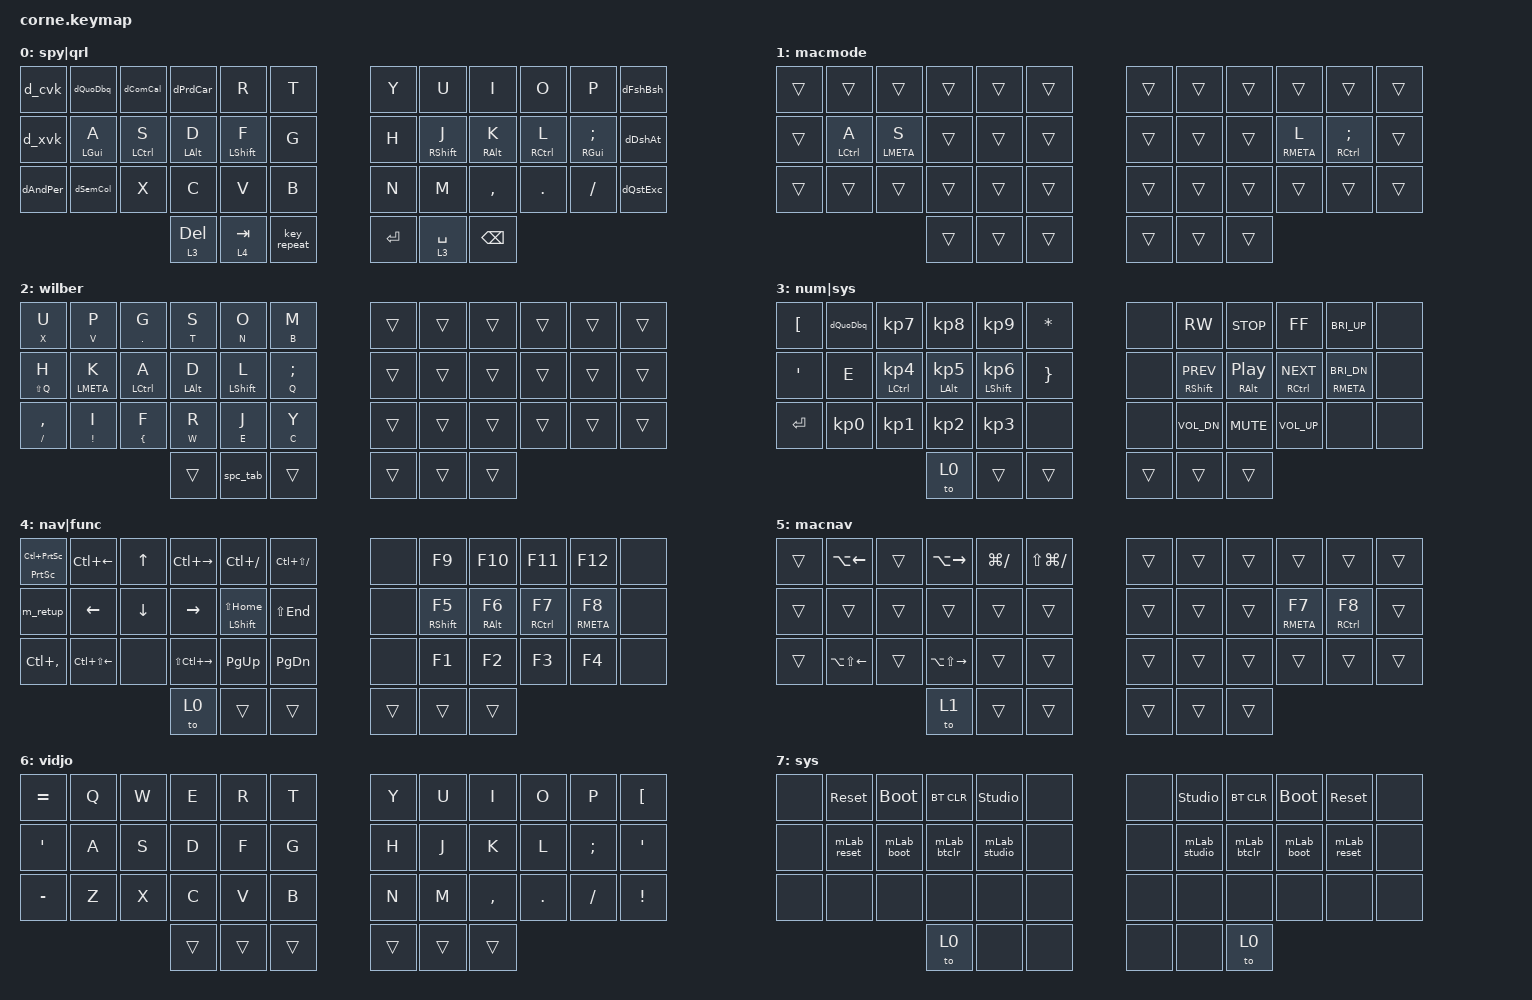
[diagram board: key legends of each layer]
/*
 * Copyright (c) 2020 The ZMK Contributors
 *
 * SPDX-License-Identifier: MIT
 */

#include <behaviors.dtsi>
#include <dt-bindings/zmk/bt.h>
#include <dt-bindings/zmk/keys.h>

&lt {
    flavor = "balanced";
    tapping-term-ms = <190>;
};

&mt { flavor = "balanced"; };

&sk { release-after-ms = <2000>; };

/* Homerow mods

#define QUICK_TAP_MS 175
#define KEYS_L LT0 LT1 LT2 LT3 LT4 LT5 LM0 LM1 LM2 LM3 LM4 LM5 LB0 LB1 LB2 LB3 LB4 LB5  // left hand
#define KEYS_R RT0 RT1 RT2 RT3 RT4 RT5 RM0 RM1 RM2 RM3 RM4 RM5 RB0 RB1 RB2 RB3 RB4 RB5  // right hand
#define THUMBS LH2 LH1 LH0 RH0 RH1 RH2                                                  // thumbs

#define MAKE_HRM(NAME, HOLD, TAP, TRIGGER_POS) \
    ZMK_BEHAVIOR(NAME, hold_tap, \
        flavor = "balanced"; \
        tapping-term-ms = <280>; \
        quick-tap-ms = <QUICK_TAP_MS>; \
        require-prior-idle-ms = <150>; \
        bindings = <HOLD>, <TAP>; \
        hold-trigger-key-positions = <TRIGGER_POS>; \
        hold-trigger-on-release; \
    )
MAKE_HRM(lt, &kp, &kp, KEYS_R THUMBS)  // left-hand HRMs
MAKE_HRM(lt, &kp, &kp, KEYS_L THUMBS)  // right-hand HRMs

MAKE_HRM(lt_repeat, &kp, &key_repeat, KEYS_R THUMBS)  // used for HRM-combo
MAKE_HRM(lt_lpar_lt, &kp, &lpar_lt, KEYS_L THUMBS)    // "    "   "   "
MAKE_HRM(lt_rpar_gt, &kp, &rpar_gt, KEYS_L THUMBS)    // "    "   "   "

*/

/ {
    behaviors {
        ht_L: ht_L {
            compatible = "zmk,behavior-hold-tap";
            label = "HT_L";
            bindings = <&kp>, <&kp>;

            #binding-cells = <2>;
            tapping-term-ms = <155>;
            quick-tap-ms = <135>;
            require-prior-idle-ms = <125>;
            flavor = "balanced";
            hold-trigger-key-positions = <6 7 8 9 10 11 18 19 20 21 22 23 30 31 32 33 34 35 36 37>;
            hold-trigger-on-release;
        };

        ht_R: ht_R {
            compatible = "zmk,behavior-hold-tap";
            label = "HT_R";
            bindings = <&kp>, <&kp>;

            #binding-cells = <2>;
            tapping-term-ms = <155>;
            quick-tap-ms = <135>;
            require-prior-idle-ms = <125>;
            flavor = "balanced";
            hold-trigger-key-positions = <0 1 2 3 4 5 12 13 14 15 16 17 24 25 26 27 28 29 36 37>;
            hold-trigger-on-release;
        };

        dQuoDbq: dQuoDbq {
            compatible = "zmk,behavior-tap-dance";
            label = "DQUODBQ";
            #binding-cells = <0>;
            bindings = <&kp Q>, <&kp LS(Q)>;

            tapping-term-ms = <235>;
        };

        dComCal: dComCal {
            compatible = "zmk,behavior-tap-dance";
            label = "DCOMCAL";
            #binding-cells = <0>;
            bindings = <&kp W>, <&kp LS(W)>;

            tapping-term-ms = <235>;
        };

        dPrdCar: dPrdCar {
            compatible = "zmk,behavior-tap-dance";
            label = "DPRDCAR";
            #binding-cells = <0>;
            tapping-term-ms = <250>;
            bindings = <&kp E>, <&kp LS(E)>;
        };

        dAndPer: dAndPer {
            compatible = "zmk,behavior-tap-dance";
            label = "DANDPER";
            #binding-cells = <0>;
            bindings = <&kp AMPS>, <&kp PERCENT>;

            tapping-term-ms = <250>;
        };

        dSemCol: dSemCol {
            compatible = "zmk,behavior-tap-dance";
            label = "DSEMCOL";
            #binding-cells = <0>;
            bindings = <&kp Z>, <&kp LS(Z)>;

            tapping-term-ms = <250>;
        };

        mt_L: mt_L {
            compatible = "zmk,behavior-hold-tap";
            label = "MT_L";
            bindings = <&mo>, <&kp>;

            #binding-cells = <2>;
            tapping-term-ms = <145>;
            flavor = "balanced";
            hold-trigger-key-positions = <6 7 8 9 10 11 18 19 20 21 22 23 30 31 32 33 34 35 39 41 40 37>;
            hold-trigger-on-release;
        };

        mt_R: mt_R {
            compatible = "zmk,behavior-hold-tap";
            label = "MT_R";
            bindings = <&mo>, <&kp>;

            #binding-cells = <2>;
            tapping-term-ms = <160>;
            quick-tap-ms = <135>;
            flavor = "balanced";
            hold-trigger-key-positions = <0 1 2 3 4 5 12 13 14 15 16 17 24 25 26 27 28 29 37 40 36>;
            hold-trigger-on-release;
        };

        dGrvTld: dGrvTld {
            compatible = "zmk,behavior-tap-dance";
            label = "DGRVTLD";
            #binding-cells = <0>;
            bindings = <&kp GRAVE>, <&kp TILDE>;

            tapping-term-ms = <235>;
        };

        dFshBsh: dFshBsh {
            compatible = "zmk,behavior-tap-dance";
            label = "DFSHBSH";
            #binding-cells = <0>;
            bindings = <&kp LBKT>, <&kp BSLH>;

            tapping-term-ms = <235>;
        };

        dQstExc: dQstExc {
            compatible = "zmk,behavior-tap-dance";
            label = "DQSTEXC";
            #binding-cells = <0>;
            bindings = <&kp LS(LBKT)>, <&kp EXCL>;

            tapping-term-ms = <235>;
        };

        dDshAt: dDshAt {
            compatible = "zmk,behavior-tap-dance";
            label = "DDSHAT";
            #binding-cells = <0>;
            bindings = <&kp SQT>, <&kp AT>;

            tapping-term-ms = <235>;
        };

        ht_xvk: ht_xvk {
            compatible = "zmk,behavior-hold-tap";
            label = "HT_XVK";
            bindings = <&m_xv>, <&kp>;

            #binding-cells = <2>;
            tapping-term-ms = <155>;
            quick-tap-ms = <135>;
            require-prior-idle-ms = <125>;
            flavor = "balanced";
            hold-trigger-key-positions = <6 7 8 9 10 11 18 19 20 21 22 23 30 31 32 33 34 35 39 40 41>;
        };

        ht_cvk: ht_cvk {
            compatible = "zmk,behavior-hold-tap";
            label = "HT_CVK";
            bindings = <&m_cv>, <&kp>;

            #binding-cells = <2>;
            tapping-term-ms = <155>;
            quick-tap-ms = <135>;
            require-prior-idle-ms = <125>;
            flavor = "balanced";
            hold-trigger-key-positions = <6 7 8 9 10 11 18 19 20 21 22 23 30 31 32 33 34 35 39 40 41>;
        };

        d_xvk: d_xvk {
            compatible = "zmk,behavior-tap-dance";
            label = "D_XVK";
            #binding-cells = <0>;
            bindings = <&ht_xvk 0 HASH>, <&kp STAR>;

            tapping-term-ms = <225>;
        };

        d_cvk: d_cvk {
            compatible = "zmk,behavior-tap-dance";
            label = "D_CVK";
            #binding-cells = <0>;
            bindings = <&ht_cvk 0 GRAVE>, <&kp TILDE>;

            tapping-term-ms = <225>;
        };

        ht_W: ht_W {
            compatible = "zmk,behavior-hold-tap";
            label = "HT_W";
            bindings = <&kp>, <&kp>;

            #binding-cells = <2>;
            tapping-term-ms = <120>;
            flavor = "balanced";
            hold-trigger-key-positions = <6 7 8 9 10 11 18 19 20 21 22 23 30 31 32 33 34 35 36 37>;
            require-prior-idle-ms = <35>;
        };

        mdt_L: mdt_L {
            compatible = "zmk,behavior-hold-tap";
            label = "MDT_L";
            bindings = <&mo>, <&gresc>;

            #binding-cells = <2>;
            tapping-term-ms = <145>;
            flavor = "balanced";
            hold-trigger-key-positions = <6 7 8 9 10 11 18 19 20 21 22 23 30 31 32 33 34 35 39 41 40 37>;
            hold-trigger-on-release;
        };

        spc_tab: spc_tab {
            compatible = "zmk,behavior-mod-morph";
            label = "SPC_TAB";
            bindings = <&mm_L 4 SPACE>, <&kp TAB>;

            #binding-cells = <0>;
            keep-mods = <(MOD_LALT|MOD_LGUI)>;
            mods = <(MOD_LALT|MOD_LGUI)>;
        };

        mm_L: mm_L {
            compatible = "zmk,behavior-hold-tap";
            label = "MM_L";
            bindings = <&mo>, <&kp>;

            #binding-cells = <2>;
            tapping-term-ms = <145>;
            flavor = "balanced";
            hold-trigger-key-positions = <6 7 8 9 10 11 18 19 20 21 22 23 30 31 32 33 34 35 39 41 40 37>;
            hold-trigger-on-release;
        };
    };

    macros {
        ms_wrkD: ms_wrkD {
            compatible = "zmk,behavior-macro";
            #binding-cells = <0>;
            bindings =
                <&macro_tap>,
                <&kp SEMI &kp COMMA &kp D &kp H &kp D &kp SEMI &kp N2 &kp M &kp A &kp O &kp K &kp T &kp N8 &kp I &kp J &kp D &kp D &kp K &kp A &kp J &kp N4>,
                <&macro_press>,
                <&kp LSHFT>,
                <&macro_tap>,
                <&kp S &kp GT &kp D &kp O &kp P &kp S &kp S &kp V>,
                <&macro_release>,
                <&kp LSHFT>;

            label = "MS_WRKD";
        };

        ms_wrkQ: ms_wrkQ {
            compatible = "zmk,behavior-macro";
            #binding-cells = <0>;
            bindings =
                <&macro_tap>,
                <&kp S &kp W &kp E &kp D &kp E &kp S &kp N2 &kp M &kp A &kp R &kp T &kp Y &kp N8 &kp C &kp H &kp E &kp E &kp T &kp A &kp H &kp N4>,
                <&macro_press>,
                <&kp LSHFT>,
                <&macro_tap>,
                <&kp O &kp V &kp E &kp R &kp L &kp O &kp O &kp K>,
                <&macro_release>,
                <&kp LSHFT>;

            label = "MS_WRKQ";
        };

        ms_mac: ms_mac {
            compatible = "zmk,behavior-macro";
            #binding-cells = <0>;
            bindings = <&kp SEMI &kp J &kp D &kp D &kp L &kp N6 &kp COLON &kp LT &kp LS(D) &kp LS(O) &kp GT &kp LS(D) &kp N9 &kp SEMI &kp K &kp O &kp A &kp L &kp U &kp D &kp O &kp N6 &kp C &kp G &kp L &kp B>;
            label = "MS_MAC";
        };

        m_2cmd: m_2cmd {
            compatible = "zmk,behavior-macro-two-param";
            #binding-cells = <2>;
            bindings =
                <&macro_param_1to1>,
                <&macro_tap>,
                <&kp MACRO_PLACEHOLDER>,
                <&macro_pause_for_release>,
                <&macro_param_2to1>,
                <&macro_tap>,
                <&kp MACRO_PLACEHOLDER>;

            label = "M_2CMD";
        };

        m_retup: m_retup {
            compatible = "zmk,behavior-macro";
            #binding-cells = <0>;
            bindings = <&kp HOME &kp LS(RET) &kp UP>;
            label = "M_RETUP";
        };

        ms_phnx: ms_rphe {
            compatible = "zmk,behavior-macro";
            #binding-cells = <0>;
            bindings = <&kp D &kp FSLH &kp D &kp V &kp G &kp D &kp P &kp N7 &kp R &kp S &kp P &kp A &kp O &kp G &kp K &kp T &kp N4 &kp LS(U) &kp LS(A) &kp LS(M) &kp LS(M) &kp LS(D) &kp LS(O) &kp N4 &kp N &kp G &kp S &kp K &kp A>;
            label = "MS_RPHE";
        };

        m_2tabto0: m_2tabto0 {
            compatible = "zmk,behavior-macro";
            #binding-cells = <0>;
            bindings = <&macro_tap>, <&kp TAB &to 0>;

            label = "M_2TABTO0";
        };

        m_xv: m_xv {
            compatible = "zmk,behavior-macro";
            #binding-cells = <0>;
            bindings =
                <&macro_tap>,
                <&kp LC(B)>,
                <&macro_pause_for_release>,
                <&macro_tap>,
                <&kp LC(PERIOD)>;

            label = "M_XV";
        };

        m_cv: m_cv {
            compatible = "zmk,behavior-macro";
            #binding-cells = <0>;
            bindings =
                <&macro_tap>,
                <&kp LC(I)>,
                <&macro_pause_for_release>,
                <&macro_tap>,
                <&kp LC(PERIOD)>;

            label = "M_CV";
        };

        mLab_studio: mLab_studio {
            compatible = "zmk,behavior-macro";
            #binding-cells = <0>;
            bindings = <&kp G &kp L &kp H &kp D &kp B &kp SPACE &kp SQT &kp SPACE &kp SEMI &kp K &kp F &kp H &kp G &kp S &kp SPACE &kp F &kp L &kp P &kp S &kp I &kp V>;
            label = "MLAB_STUDIO";
        };

        mLab_btclr: mLab_btclr {
            compatible = "zmk,behavior-macro";
            #binding-cells = <0>;
            bindings = <&kp M &kp G &kp H &kp H &kp P &kp D &kp SPACE &kp SQT &kp SPACE &kp N &kp K &kp DQT &kp I &kp P &kp O>;
            label = "MLAB_BTCLR";
        };

        mLab_boot: mLab_boot {
            compatible = "zmk,behavior-macro";
            #binding-cells = <0>;
            bindings = <&kp O &kp G &kp L &kp U &kp SPACE &kp SQT &kp SPACE &kp N &kp S &kp S &kp K &kp P &kp S &kp A &kp H &kp D &kp O>;
            label = "MLAB_BOOT";
        };

        mLab_reset: mLab_reset {
            compatible = "zmk,behavior-macro";
            #binding-cells = <0>;
            bindings = <&kp R &kp G &kp L &kp V &kp T &kp SPACE &kp SQT &kp SPACE &kp SEMI &kp T &kp SEMI &kp SPACE &kp O &kp D &kp SEMI &kp D &kp K>;
            label = "MLAB_RESET";
        };
    };

    combos {
        compatible = "zmk,combos";

        c_parL {
            bindings = <&kp LPAR>;
            key-positions = <1 2>;
            require-prior-idle-ms = <130>;
        };

        c_parR {
            bindings = <&kp RPAR>;
            key-positions = <3 4>;
            require-prior-idle-ms = <130>;
        };

        c_home {
            bindings = <&kp HOME>;
            key-positions = <15 16>;
            require-prior-idle-ms = <150>;
        };

        c_end {
            bindings = <&kp END>;
            key-positions = <16 17>;
        };

        c_dol {
            bindings = <&kp DLLR>;
            key-positions = <36 28 27>;
        };

        c_pipe {
            bindings = <&kp PIPE>;
            key-positions = <16 4>;
            timeout-ms = <200>;
        };

        c_cut {
            bindings = <&kp LC(B)>;
            key-positions = <25 27>;
        };

        c_paste {
            bindings = <&kp LC(DOT)>;
            key-positions = <16 14>;
            require-prior-idle-ms = <350>;
            timeout-ms = <30>;
        };

        c_copy {
            bindings = <&kp LC(I)>;
            key-positions = <13 15>;
            timeout-ms = <21>;
            require-prior-idle-ms = <350>;
        };

        c_esc {
            bindings = <&kp ESC>;
            key-positions = <13 14>;
            require-prior-idle-ms = <150>;
        };

        c_ltroub {
            bindings = <&to 7>;
            key-positions = <24 12 38>;
            require-prior-idle-ms = <3000>;
        };

        c_ltroubR {
            bindings = <&to 7>;
            key-positions = <39 35 23>;
            require-prior-idle-ms = <3000>;
        };

        cs_dwrk {
            bindings = <&ms_wrkD>;
            key-positions = <17 13 20 22>;
            require-prior-idle-ms = <3000>;
            timeout-ms = <100>;
        };

        c_qwrk {
            bindings = <&ms_wrkQ>;
            key-positions = <20 22 26 13>;
            require-prior-idle-ms = <3000>;
            timeout-ms = <100>;
        };

        cWyrm {
            bindings = <&ms_mac>;
            key-positions = <5 9 31 32>;
            timeout-ms = <100>;
            require-prior-idle-ms = <3000>;
        };

        c_dskl {
            bindings = <&kp LG(LC(LEFT_ARROW))>;
            key-positions = <0 1 37>;
            timeout-ms = <150>;
        };

        c_deskr {
            bindings = <&kp LG(LC(RIGHT_ARROW))>;
            key-positions = <4 5 37>;
            timeout-ms = <150>;
        };

        c_sum {
            bindings = <&kp RBRC>;
            key-positions = <16 22 31>;
        };

        c_eq {
            bindings = <&kp RBKT>;
            key-positions = <26 15 16>;
        };

        c_pow {
            bindings = <&kp CARET>;
            key-positions = <4 14 32>;
        };

        c_ast {
            bindings = <&kp STAR>;
            key-positions = <13 22 20>;
        };

        c_tab {
            bindings = <&kp TAB>;
            key-positions = <27 28>;
            layers = <2>;
        };

        c_btx1 {
            bindings = <&bt BT_DISC 0>;
            key-positions = <38 25>;
        };

        c_btx2 {
            bindings = <&bt BT_DISC 1>;
            key-positions = <38 26>;
        };

        c_btx3 {
            bindings = <&bt BT_DISC 2>;
            key-positions = <38 27>;
        };

        c_btx4 {
            bindings = <&bt BT_DISC 3>;
            key-positions = <38 28>;
        };

        c_btx5 {
            bindings = <&bt BT_DISC 4>;
            key-positions = <38 29>;
        };

        c_bksp {
            bindings = <&kp BSPC>;
            key-positions = <26 25>;
        };

        c_ret {
            bindings = <&kp RET>;
            key-positions = <29 28>;
        };

        cs_phx {
            bindings = <&ms_phnx>;
            key-positions = <19 4 29 21>;
            require-prior-idle-ms = <3000>;
            timeout-ms = <100>;
        };

        cBt1 {
            bindings = <&bt BT_SEL 0>;
            key-positions = <38 13>;
        };

        cBt2 {
            bindings = <&bt BT_SEL 1>;
            key-positions = <38 14>;
        };

        cBt3 {
            bindings = <&bt BT_SEL 2>;
            key-positions = <38 15>;
        };

        cBt4 {
            bindings = <&bt BT_SEL 3>;
            key-positions = <38 16>;
        };

        cBt5 {
            bindings = <&bt BT_SEL 4>;
            key-positions = <38 17>;
        };

        cw_bktl {
            bindings = <&kp MINUS>;
            key-positions = <0 1>;
        };

        cw_bktr {
            bindings = <&kp EQUAL>;
            key-positions = <5 4>;
        };

        cw_ins {
            bindings = <&kp INS>;
            key-positions = <3 2>;
            timeout-ms = <30>;
        };

        cw_lgui {
            bindings = <&sk LEFT_GUI>;
            key-positions = <13 37>;
            require-prior-idle-ms = <125>;
        };

        cw_ctrl {
            bindings = <&sk LCTRL>;
            key-positions = <37 14>;
            require-prior-idle-ms = <125>;
        };

        cw_alt {
            bindings = <&sk LEFT_ALT>;
            key-positions = <37 15>;
            require-prior-idle-ms = <125>;
        };

        cw_shft {
            bindings = <&sk LSHFT>;
            key-positions = <37 16>;
            require-prior-idle-ms = <125>;
        };

        cw_toggle {
            bindings = <&tog 2>;
            key-positions = <14 15>;
            require-prior-idle-ms = <350>;
        };

        c_r0 {
            bindings = <&kp N0>;
            key-positions = <35 34>;
            timeout-ms = <50>;
        };

        c_n1 {
            bindings = <&kp N1>;
            key-positions = <34 33>;
            timeout-ms = <30>;
            require-prior-idle-ms = <350>;
        };

        c_n2 {
            bindings = <&kp N2>;
            key-positions = <33 32>;
            timeout-ms = <30>;
            require-prior-idle-ms = <350>;
        };

        c_n3 {
            bindings = <&kp N3>;
            key-positions = <32 31>;
            timeout-ms = <30>;
            require-prior-idle-ms = <350>;
        };

        c_n4 {
            bindings = <&kp NUMBER_4>;
            key-positions = <22 21>;
            require-prior-idle-ms = <350>;
            timeout-ms = <30>;
        };

        c_n5 {
            bindings = <&kp N5>;
            key-positions = <21 20>;
            timeout-ms = <30>;
            require-prior-idle-ms = <350>;
        };

        c_n6 {
            bindings = <&kp N6>;
            key-positions = <20 19>;
            timeout-ms = <30>;
            require-prior-idle-ms = <350>;
        };

        c_lthan {
            bindings = <&kp LS(W)>;
            key-positions = <1 0 2>;
            require-prior-idle-ms = <150>;
        };

        c_colon {
            bindings = <&kp LS(Z)>;
            key-positions = <13 16>;
            layers = <2>;
        };

        c_dash {
            bindings = <&kp APOS>;
            key-positions = <15 3>;
        };

        c_btck {
            bindings = <&kp GRAVE>;
            key-positions = <1 14 0>;
        };

        c_tilde {
            bindings = <&kp TILDE>;
            key-positions = <12 13 2>;
        };

        c_gthan {
            bindings = <&kp LS(E)>;
            key-positions = <3 4 5>;
            require-prior-idle-ms = <150>;
        };

        c_uscor {
            bindings = <&kp LS(APOS)>;
            key-positions = <15 27>;
        };

        c_powl {
            bindings = <&kp CARET>;
            key-positions = <16 3 14>;
        };

        c_prcnt {
            bindings = <&kp PRCNT>;
            key-positions = <15 16 2 1>;
            layers = <2>;
            timeout-ms = <300>;
        };

        c_bslsh {
            bindings = <&kp BSLH>;
            key-positions = <28 3>;
        };

        cmac_toggle {
            bindings = <&tog 1>;
            key-positions = <4 1>;
            timeout-ms = <30>;
            require-prior-idle-ms = <350>;
        };

        c_capsl {
            bindings = <&kp CAPS>;
            key-positions = <24 25>;
        };

        c_n7 {
            bindings = <&kp N7>;
            key-positions = <10 9>;
            timeout-ms = <30>;
            require-prior-idle-ms = <350>;
        };

        c_n8 {
            bindings = <&kp N8>;
            key-positions = <9 8>;
            timeout-ms = <30>;
            require-prior-idle-ms = <350>;
        };

        c_n9 {
            bindings = <&kp N9>;
            key-positions = <8 7>;
            timeout-ms = <30>;
            require-prior-idle-ms = <350>;
        };

        c_amps {
            bindings = <&kp AMPS>;
            key-positions = <24 36>;
            require-prior-idle-ms = <150>;
            layers = <2>;
        };

        c_hsh {
            bindings = <&kp HASH>;
            key-positions = <17 29 28 16>;
        };

        c_at {
            bindings = <&kp AT>;
            key-positions = <36 28 15 26>;
        };

        c_semicol {
            bindings = <&kp Z>;
            key-positions = <25 28>;
        };

        c_win {
            bindings = <&kp LWIN>;
            key-positions = <13 22>;
        };

        c_fslsh {
            bindings = <&kp LBKT>;
            key-positions = <4 15>;
            require-prior-idle-ms = <130>;
        };

        c_f1 {
            bindings = <&kp F1>;
            key-positions = <25 36>;
            layers = <2>;
        };

        c_f2 {
            bindings = <&kp F2>;
            key-positions = <36 26>;
            layers = <2>;
        };

        c_f3 {
            bindings = <&kp F3>;
            key-positions = <36 27>;
            layers = <2>;
        };

        c_f4 {
            bindings = <&kp F4>;
            key-positions = <36 28>;
            layers = <2>;
        };

        c_f5 {
            bindings = <&kp F5>;
            key-positions = <13 36>;
            layers = <2>;
        };

        c_f6 {
            bindings = <&kp F6>;
            key-positions = <36 14>;
            layers = <2>;
        };

        c_f7 {
            bindings = <&kp F7>;
            key-positions = <36 15>;
            layers = <2>;
        };

        c_f8 {
            bindings = <&kp F8>;
            key-positions = <36 16>;
            layers = <2>;
        };

        c_f9 {
            bindings = <&kp F9>;
            key-positions = <36 1>;
            layers = <2>;
        };

        c_f10 {
            bindings = <&kp F10>;
            key-positions = <36 2>;
            layers = <2>;
        };

        c_f11 {
            bindings = <&kp F11>;
            key-positions = <36 3>;
            layers = <2>;
        };

        c_f12 {
            bindings = <&kp F12>;
            key-positions = <36 4>;
            layers = <2>;
        };

        c_cbkl {
            bindings = <&kp UNDER>;
            key-positions = <1 2 4>;
            require-prior-idle-ms = <130>;
            layers = <2>;
        };

        c_cbktr {
            bindings = <&kp PLUS>;
            key-positions = <4 1 3>;
            require-prior-idle-ms = <130>;
            layers = <2>;
        };
    };

    keymap {
        compatible = "zmk,keymap";

        home {
            bindings = <
&d_cvk    &dQuoDbq      &dComCal       &dPrdCar      &kp R          &kp T          &kp Y       &kp U          &kp I         &kp O          &kp P            &dFshBsh
&d_xvk    &ht_L LGUI A  &ht_L LCTRL S  &ht_L LALT D  &ht_L LSHFT F  &kp G          &kp H       &ht_R RSHFT J  &ht_R RALT K  &ht_R RCTRL L  &ht_R RGUI SEMI  &dDshAt
&dAndPer  &dSemCol      &kp X          &kp C         &kp V          &kp B          &kp N       &kp M          &kp COMMA     &kp DOT        &kp FSLH         &dQstExc
                                       &mt_R 3 DEL   &mt_L 4 TAB    &key_repeat    &kp RETURN  &mt_R 3 SPACE  &kp BSPC
            >;

            label = "spy|qrl";
        };

        macmode {
            bindings = <
&trans  &trans         &trans         &trans  &trans  &trans    &trans  &trans  &trans  &trans         &trans            &trans
&trans  &ht_L LCTRL A  &ht_L LMETA S  &trans  &trans  &trans    &trans  &trans  &trans  &ht_R RMETA L  &ht_R RCTRL SEMI  &trans
&trans  &trans         &trans         &trans  &trans  &trans    &trans  &trans  &trans  &trans         &trans            &trans
                                      &trans  &trans  &trans    &trans  &trans  &trans
            >;

            label = "macmode";
        };

        wilber {
            bindings = <
&ht_W X U          &ht_W V P      &ht_W DOT G    &ht_W T S     &ht_W N O      &ht_W B M       &trans  &trans  &trans  &trans  &trans  &trans
&ht_W LS(Q) H      &ht_W LMETA K  &ht_W LCTRL A  &ht_W LALT D  &ht_W LSHFT L  &ht_W Q SEMI    &trans  &trans  &trans  &trans  &trans  &trans
&ht_W SLASH COMMA  &ht_W EXCL I   &ht_W LBRC F   &ht_W W R     &ht_W E J      &ht_W C Y       &trans  &trans  &trans  &trans  &trans  &trans
                                                 &trans        &spc_tab       &trans          &trans  &trans  &trans
            >;
        };

        num-sys {
            bindings = <
&kp LBKT  &dQuoDbq   &kp KP_N7          &kp KP_N8         &kp KP_N9          &kp STAR    &none   &kp C_RW            &kp C_STOP       &kp C_FF            &kp C_BRI_UP          &none
&kp APOS  &kp E      &ht_L LCTRL KP_N4  &ht_L LALT KP_N5  &ht_L LSHFT KP_N6  &kp RBRC    &none   &ht_R RSHFT C_PREV  &ht_R RALT C_PP  &ht_R RCTRL C_NEXT  &ht_R RMETA C_BRI_DN  &none
&kp RET   &kp KP_N0  &kp KP_N1          &kp KP_N2         &kp KP_N3          &none       &none   &kp C_VOL_DN        &kp C_MUTE       &kp C_VOL_UP        &none                 &none
                                        &to 0             &trans             &trans      &trans  &trans              &trans
            >;

            label = "num|sys";
        };

        nav-func {
            bindings = <
&mt PSCRN LC(PSCRN)  &kp LC(LEFT_ARROW)      &kp UP    &kp LC(RIGHT_ARROW)      &kp LC(SLASH)         &kp LC(LS(SLASH))    &none   &kp F9          &kp F10             &kp F11         &kp F12         &none
&m_retup             &kp LEFT                &kp DOWN  &kp RIGHT                &ht_L LSHFT LS(HOME)  &kp LS(END)          &none   &ht_R RSHFT F5  &ht_R RIGHT_ALT F6  &ht_R RCTRL F7  &ht_R RMETA F8  &none
&kp LC(COMMA)        &kp LC(LS(LEFT_ARROW))  &none     &kp LS(LC(RIGHT_ARROW))  &kp PG_UP             &kp PG_DN            &none   &kp F1          &kp F2              &kp F3          &kp F4          &none
                                                       &to 0                    &trans                &trans               &trans  &trans          &trans
            >;

            label = "nav|func";
        };

        macnav {
            bindings = <
&trans  &kp LA(LEFT)      &trans  &kp LA(RIGHT)      &kp LG(SLASH)  &kp LS(LG(SLASH))    &trans  &trans  &trans  &trans          &trans          &trans
&trans  &trans            &trans  &trans             &trans         &trans               &trans  &trans  &trans  &ht_R RMETA F7  &ht_R RCTRL F8  &trans
&trans  &kp LA(LS(LEFT))  &trans  &kp LA(LS(RIGHT))  &trans         &trans               &trans  &trans  &trans  &trans          &trans          &trans
                                  &to 1              &trans         &trans               &trans  &trans  &trans
            >;

            label = "macnav";
        };

        home-gaming {
            bindings = <
&kp EQUAL  &kp Q  &kp W  &kp E   &kp R   &kp T     &kp Y   &kp U   &kp I      &kp O    &kp P     &kp LBKT
&kp SQT    &kp A  &kp S  &kp D   &kp F   &kp G     &kp H   &kp J   &kp K      &kp L    &kp SEMI  &kp SQT
&kp MINUS  &kp Z  &kp X  &kp C   &kp V   &kp B     &kp N   &kp M   &kp COMMA  &kp DOT  &kp FSLH  &kp EXCL
                         &trans  &trans  &trans    &trans  &trans  &trans
            >;

            label = "vidjo";
        };

        system {
            bindings = <
&none  &sys_reset   &bootloader  &bt BT_CLR   &studio_unlock  &none    &none  &studio_unlock  &bt BT_CLR   &bootloader  &sys_reset   &none
&none  &mLab_reset  &mLab_boot   &mLab_btclr  &mLab_studio    &none    &none  &mLab_studio    &mLab_btclr  &mLab_boot   &mLab_reset  &none
&none  &none        &none        &none        &none           &none    &none  &none           &none        &none        &none        &none
                                 &to 0        &none           &none    &none  &none           &to 0
            >;

            label = "sys";
        };
    };

    conditional_layers {
        compatible = "zmk,conditional-layers";

        macmode {
            if-layers = <1 4>;
            then-layer = <5>;
        };
    };
};
